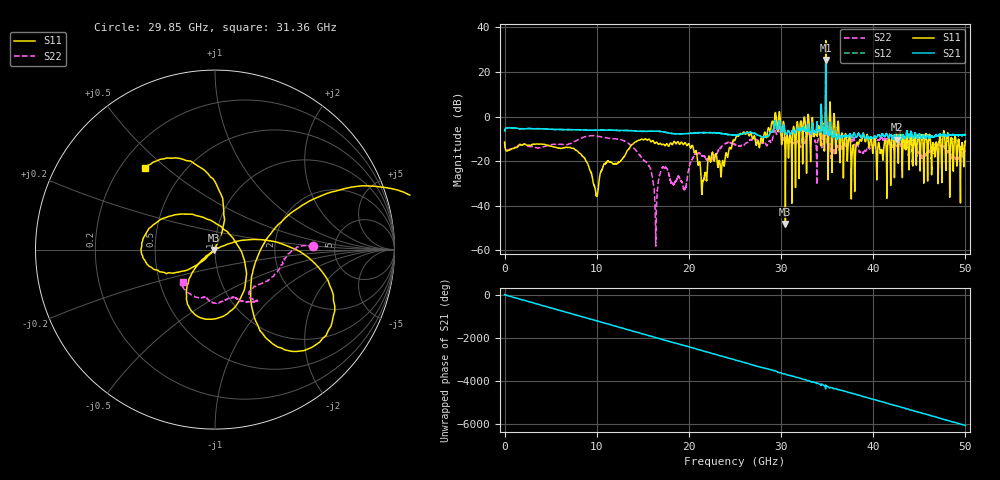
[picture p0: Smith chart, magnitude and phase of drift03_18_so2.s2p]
!Created with skrf (http://scikit-rf.org).
# Hz S RI R 50.0
!freq ReS11 ImS11 ReS21 ImS21 ReS12 ImS12 ReS22 ImS22
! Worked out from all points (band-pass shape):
!   10001 points, 300 kHz to 50 GHz, reference 50 ohm
!   highest |S21| = 25.41 dB at 34.85 GHz (marker M1); lowest = -10.4 dB at 42.56 GHz (marker M2)
!   |S21| within 3 dB of the highest: 34.84295 GHz to 34.84627 GHz (3.32 MHz wide, 0.00953 % of centre)
!   lowest |S11| = -48.1 dB at 30.47 GHz (marker M3), VSWR 1.01, Z = 49.6 - j0.148 ohm
!   |S11| at or under -10 dB: start of sweep to 15.22 GHz; 15.33 GHz to 25.05 GHz (9.727 GHz wide, 48.2 % of centre); 40.22 GHz to 41.64 GHz (1.419 GHz wide, 3.47 % of centre) (the widest 3 of 58)
!   |S22| runs from -58.1 to 16.7 dB; largest |S21 - S12| = 2.8
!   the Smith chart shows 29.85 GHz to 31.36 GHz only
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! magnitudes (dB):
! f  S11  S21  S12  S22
! 300 kHz  -11.4  -6.5  -6.4  -11.4
! 8.335 GHz  -17.1  -6.0  -6.0  -9.6
! 9.955 GHz  -35.6  -6.1  -6.1  -8.7
! 11 GHz  -20.9  -6.0  -6.0  -9.5
! 15.52 GHz  -10.5  -6.6  -6.6  -21.4
! 16.37 GHz  -11.9  -6.5  -6.5  -46.3
! 16.67 GHz  -12.4  -6.6  -6.5  -29.4
! 17.33 GHz  -12.7  -6.9  -6.9  -22.9
! 19.54 GHz  -11.7  -7.7  -7.7  -32.5
! 20.22 GHz  -13.9  -7.5  -7.5  -20.2
! 21.55 GHz  -28.5  -7.2  -7.2  -17.8
! 25 GHz  -10.6  -8.3  -8.3  -12.5
! 29.6 GHz  -5.6  -5.7  -5.9  -7.8
! 30.47 GHz  -48.1  -7.2  -7.2  -9.1
! 33.34 GHz  -3.7  -6.9  -6.8  -9.4
! 34.85 GHz  34.2  25.4  25.3  16.7
! 35.63 GHz  -5.9  -9.3  -9.2  -15.7
! 37.82 GHz  -12.7  -8.4  -8.4  -10.0
! 38.81 GHz  -9.5  -8.3  -8.3  -16.1
! 41.67 GHz  -9.7  -9.5  -9.4  -11.5
! 42.56 GHz  -8.3  -10.4  -10.5  -13.1
! 50 GHz  -11.0  -8.2  -8.2  -15.5
